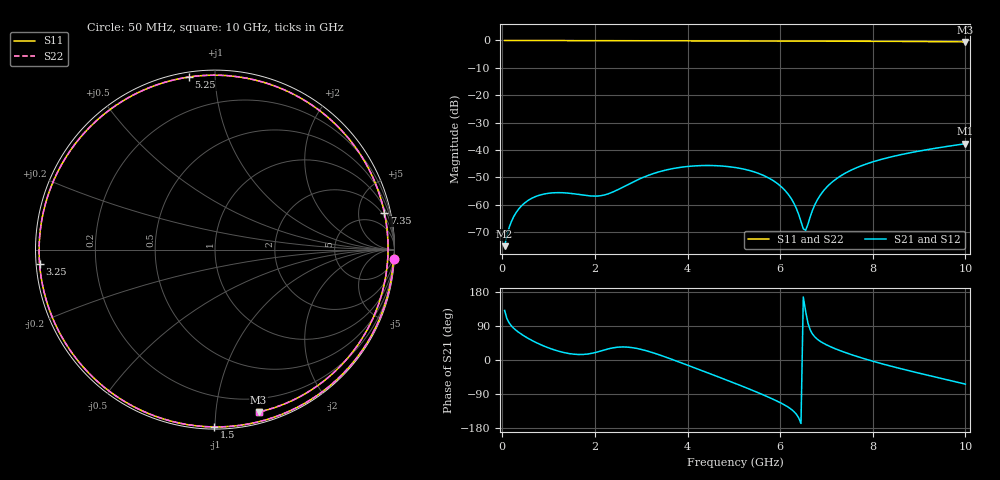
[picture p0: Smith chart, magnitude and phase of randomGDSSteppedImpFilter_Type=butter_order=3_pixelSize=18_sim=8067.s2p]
! freq	dB(S11)	phase(S11)	dB(S12)	phase(S12)
!  dB(S21)	phase(S21)	dB(S22)	phase(S22)
!S-par simulation data
#  GHz  S  DB  R 50
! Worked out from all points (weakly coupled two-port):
!   200 points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, 50 MHz to 10 GHz, reference 50 ohm
!   highest |S21| = -37.71 dB at 10 GHz (marker M1); lowest = -75.1 dB at 50 MHz (marker M2)
!   lowest |S11| = -0.6 dB at 10 GHz (marker M3), VSWR 30.89, Z = 4.36 - j65 ohm
!   |S11| at or under -10 dB: nowhere
!   |S22| runs from -0.6 to 0.0 dB; largest |S21 - S12| = 0
!   S11 on the Smith chart (normalised r, x): 50 MHz: 3, -36; 1.5 GHz: 0.01, -0.99; 3.25 GHz: 0.01, -0.04; 5.25 GHz: 0.02, +0.86; 7.35 GHz: 1.49, +9.07; 10 GHz: 0.09, -1.30
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0.05  -0.03 -3.1  -75.07 130.7  -75.07 130.7  -0.01 -3.1
0.2  -0.04 -12.7  -65.93 89.6  -65.93 89.6  -0.03 -12.7
0.5  -0.05 -31.6  -59.08 61.3  -59.08 61.3  -0.05 -31.6
1  -0.08 -62.0  -55.76 31.9  -55.76 31.9  -0.08 -62.0
1.5  -0.10 -90.4  -55.86 15.9  -55.86 15.9  -0.10 -90.4
1.75  -0.12 -103.8  -56.45 14.7  -56.45 14.7  -0.12 -103.7
2.5  -0.15 -141.1  -54.42 33.9  -54.42 33.9  -0.15 -141.1
3.25  -0.17 -175.4  -48.66 19.3  -48.66 19.3  -0.17 -175.3
3.4  -0.18 178.0  -47.88 13.2  -47.88 13.2  -0.18 178.1
4.15  -0.20 145.6  -45.79 -20.6  -45.79 -20.6  -0.20 145.7
5.05  -0.24 107.2  -46.43 -62.8  -46.43 -62.8  -0.24 107.3
5.25  -0.24 98.6  -47.10 -72.5  -47.10 -72.5  -0.24 98.7
6.05  -0.27 64.8  -53.80 -115.7  -53.80 -115.7  -0.26 64.9
6.3  -0.27 54.3  -59.50 -136.4  -59.50 -136.4  -0.27 54.5
6.5  -0.28 46.1  -68.72 166.2  -68.72 166.2  -0.28 46.2
6.55  -0.28 44.0  -69.28 128.7  -69.28 128.7  -0.28 44.2
6.7  -0.28 37.9  -61.90 68.2  -61.90 68.2  -0.28 38.1
6.95  -0.29 27.9  -54.59 43.2  -54.59 43.2  -0.29 28.0
7.35  -0.30 12.3  -48.98 22.2  -48.98 22.2  -0.30 12.4
8.35  -0.36 -24.0  -42.68 -14.9  -42.68 -14.9  -0.36 -23.8
9.2  -0.44 -51.5  -39.78 -40.6  -39.78 -40.6  -0.44 -51.3
10  -0.56 -75.0  -37.71 -63.6  -37.71 -63.6  -0.56 -74.8
